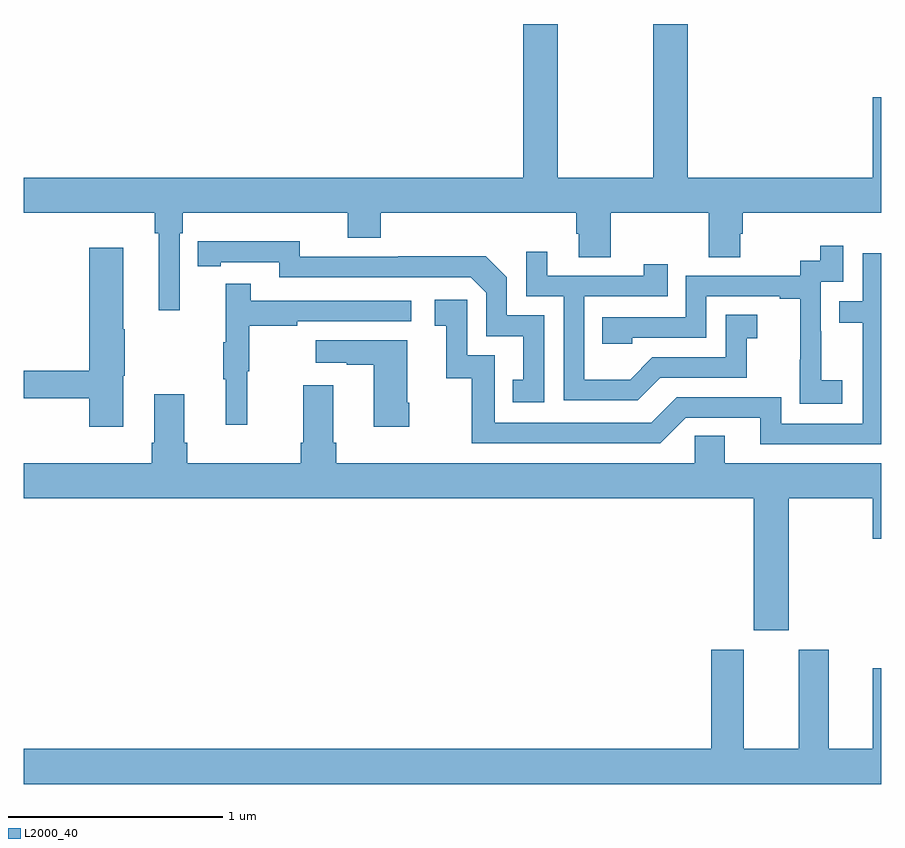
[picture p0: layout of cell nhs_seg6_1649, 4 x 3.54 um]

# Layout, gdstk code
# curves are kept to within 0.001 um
import gdstk
lib = gdstk.Library(unit=1e-6, precision=1e-09)
def P(c, l, *ps):  # polygons
    for p in ps: c.add(gdstk.Polygon(p, *l))
L2000_40 = (2000, 40)

nhs_seg6_1649 = lib.new_cell('nhs_seg6_1649')
P(nhs_seg6_1649, L2000_40, [(211.577,996.522),(211.589,996.522),(211.589,996.412),(211.737,996.412),(211.737,996.62),(212.194,996.62),(212.194,996.412),(212.341,996.412),(212.341,996.522),(212.354,996.522),(212.354,996.62),(213,996.62),(213,997.159),(212.96,997.159),(212.96,996.784),(212.096,996.784),(212.096,997.5),(211.936,997.5),(211.936,996.784),(211.491,996.784),(211.491,997.5),(211.331,997.5),(211.331,996.784),(209,996.784),(209,996.62),(209.611,996.62),(209.611,996.524),(209.63,996.524),(209.63,996.165),(209.727,996.165),(209.727,996.524),(209.741,996.524),(209.741,996.62),(210.512,996.62),(210.512,996.503),(210.665,996.503),(210.665,996.62),(211.577,996.62)],
  [(211.428,996.141),(211.254,996.141),(211.254,996.318),(211.156,996.416),(210.748,996.416),(210.748,996.414),(210.288,996.414),(210.288,996.487),(209.812,996.486),(209.812,996.37),(209.92,996.37),(209.92,996.39),(210.192,996.39),(210.192,996.318),(211.086,996.318),(211.158,996.246),(211.158,996.045),(211.331,996.045),(211.331,995.841),(211.282,995.841),(211.282,995.736),(211.428,995.736)],
  [(212.818,995.839),(212.72,995.839),(212.72,996.068),(212.718,996.068),(212.718,996.297),(212.823,996.297),(212.823,996.466),(212.715,996.466),(212.715,996.396),(212.622,996.396),(212.622,996.327),(212.088,996.327),(212.088,996.132),(211.699,996.132),(211.699,996.009),(211.839,996.009),(211.839,996.036),(212.184,996.036),(212.184,996.231),(212.525,996.231),(212.525,996.219),(212.621,996.219),(212.621,995.935),(212.62,995.935),(212.62,995.729),(212.818,995.729)],
  [(209.464,995.859),(209.472,995.859),(209.472,996.077),(209.464,996.077),(209.464,996.457),(209.306,996.457),(209.306,995.882),(209,995.882),(209,995.754),(209.306,995.754),(209.306,995.622),(209.464,995.622)],
  [(211.969,995.85),(212.373,995.85),(212.373,996.035),(212.422,996.035),(212.422,996.145),(212.274,996.145),(212.274,995.946),(211.932,995.946),(211.828,995.842),(211.614,995.842),(211.614,996.231),(212.003,996.231),(212.003,996.379),(211.892,996.379),(211.892,996.327),(211.441,996.327),(211.441,996.439),(211.344,996.439),(211.344,996.231),(211.518,996.231),(211.518,995.745),(211.864,995.745)],
  [(213,996.432),(212.913,996.432),(212.913,996.207),(212.803,996.207),(212.803,996.106),(212.913,996.106),(212.913,995.637),(212.532,995.637),(212.532,995.76),(212.046,995.76),(211.926,995.64),(211.197,995.64),(211.197,995.955),(211.068,995.955),(211.068,996.214),(210.918,996.214),(210.918,996.093),(210.971,996.093),(210.971,995.847),(211.089,995.847),(211.089,995.544),(211.968,995.544),(212.088,995.664),(212.435,995.664),(212.435,995.541),(213,995.541)],
  [(210.044,995.88),(210.052,995.88),(210.052,996.094),(210.275,996.094),(210.275,996.114),(210.808,996.114),(210.808,996.21),(210.059,996.21),(210.059,996.289),(209.942,996.289),(209.942,996.017),(209.931,996.017),(209.931,995.843),(209.942,995.843),(209.942,995.631),(210.044,995.631)],
  [(210.798,995.734),(210.79,995.734),(210.79,996.025),(210.363,996.025),(210.363,995.921),(210.506,995.921),(210.506,995.911),(210.632,995.911),(210.632,995.622),(210.798,995.622)],
  [(212.569,995.288),(212.96,995.288),(212.96,995.1),(213,995.1),(213,995.452),(212.269,995.452),(212.269,995.579),(212.13,995.579),(212.13,995.452),(210.458,995.452),(210.458,995.548),(210.445,995.548),(210.445,995.815),(210.305,995.815),(210.305,995.548),(210.293,995.548),(210.293,995.452),(209.762,995.452),(209.762,995.548),(209.749,995.548),(209.749,995.773),(209.609,995.773),(209.609,995.548),(209.597,995.548),(209.597,995.452),(209,995.452),(209,995.288),(212.405,995.288),(212.405,994.674),(212.569,994.674)],
  [(213,994.495),(212.96,994.495),(212.96,994.12),(212.755,994.12),(212.755,994.582),(212.615,994.582),(212.615,994.12),(212.359,994.12),(212.359,994.582),(212.207,994.582),(212.207,994.12),(209,994.12),(209,993.956),(213,993.956)])

lib.write_gds('nhs_seg6_1649.gds')
